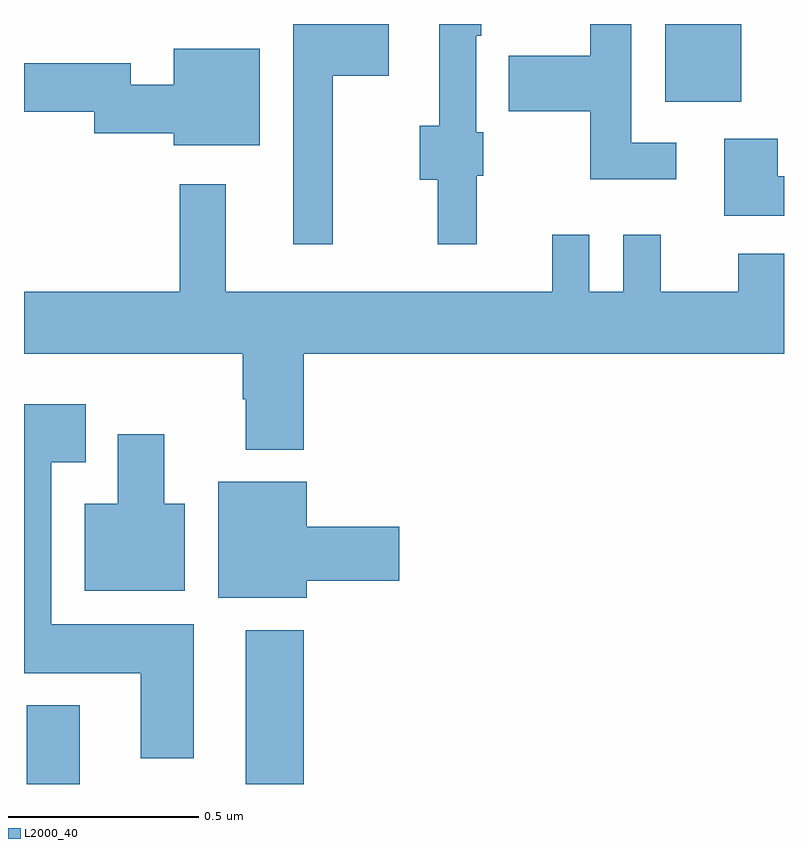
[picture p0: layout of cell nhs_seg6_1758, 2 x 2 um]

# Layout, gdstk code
import gdstk
lib = gdstk.Library(unit=1e-6, precision=1e-09)
def R(c, l, rs):  # rectangles x0, y0, x1, y1
    for r in rs: c.add(gdstk.rectangle(r[:2], r[2:], *l))
def P(c, l, *ps):  # polygons
    for p in ps: c.add(gdstk.Polygon(p, *l))
L2000_40 = (2000, 40)

nhs_seg6_1758 = lib.new_cell('nhs_seg6_1758')
R(nhs_seg6_1758, L2000_40, [(133.007,983.5,133.147,983.707), (133.583,983.5,133.736,983.905), (134.687,985.295,134.887,985.5)])
P(nhs_seg6_1758, L2000_40, [(134.192,985.101),(134.208,985.101),(134.208,985.215),(134.19,985.215),(134.19,985.469),(134.203,985.469),(134.203,985.5),(134.093,985.5),(134.093,985.232),(134.042,985.232),(134.042,985.09),(134.089,985.09),(134.089,984.921),(134.192,984.921)],
  [(134.716,985.188),(134.598,985.188),(134.598,985.5),(134.49,985.5),(134.49,985.417),(134.275,985.417),(134.275,985.27),(134.49,985.27),(134.49,985.091),(134.716,985.091)],
  [(133.813,985.364),(133.96,985.364),(133.96,985.5),(133.709,985.5),(133.709,984.921),(133.813,984.921)],
  [(133.621,985.435),(133.394,985.435),(133.394,985.34),(133.281,985.34),(133.281,985.397),(133,985.397),(133,985.269),(133.185,985.269),(133.185,985.212),(133.394,985.212),(133.394,985.181),(133.621,985.181)],
  [(135,985.099),(134.983,985.099),(134.983,985.198),(134.843,985.198),(134.843,984.995),(135,984.995)],
  [(133.736,984.632),(135,984.632),(135,984.895),(134.879,984.895),(134.879,984.796),(134.675,984.796),(134.675,984.946),(134.577,984.946),(134.577,984.796),(134.487,984.796),(134.487,984.946),(134.39,984.946),(134.39,984.796),(133.531,984.796),(133.531,985.078),(133.41,985.078),(133.41,984.796),(133,984.796),(133,984.632),(133.576,984.632),(133.576,984.512),(133.583,984.512),(133.583,984.38),(133.736,984.38)],
  [(133.447,983.92),(133.072,983.92),(133.072,984.347),(133.162,984.347),(133.162,984.499),(133,984.499),(133,983.792),(133.307,983.792),(133.307,983.568),(133.447,983.568)],
  [(133.423,984.238),(133.369,984.238),(133.369,984.421),(133.247,984.421),(133.247,984.238),(133.16,984.238),(133.16,984.008),(133.423,984.008)],
  [(133.744,984.035),(133.987,984.035),(133.987,984.177),(133.744,984.177),(133.744,984.295),(133.511,984.295),(133.511,983.99),(133.744,983.99)])

lib.write_gds('nhs_seg6_1758.gds')
